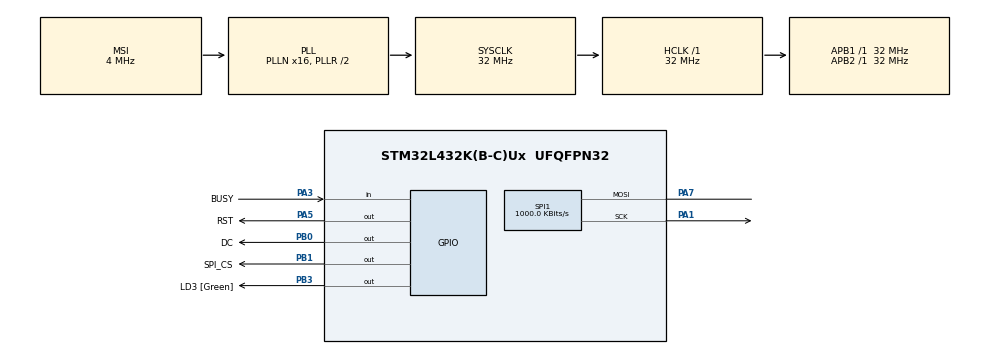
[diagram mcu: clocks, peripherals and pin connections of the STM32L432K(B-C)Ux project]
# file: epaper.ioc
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Mcu.Family=STM32L4
Mcu.Name=STM32L432K(B-C)Ux
Mcu.Package=UFQFPN32
NVIC.PriorityGroup=NVIC_PRIORITYGROUP_4
PA0.GPIO_Label=MCO [High speed clock in]
PA0.Signal=RCC_CK_IN
PA1.Mode=Simplex_Bidirectional_Master
PA1.Signal=SPI1_SCK
PA13\ (JTMS-SWDIO).GPIO_Label=SWDIO
PA13\ (JTMS-SWDIO).Signal=SYS_JTMS-SWDIO
PA14\ (JTCK-SWCLK).Signal=SYS_JTCK-SWCLK
PA15\ (JTDI).GPIO_Label=VCP_RX
PA15\ (JTDI).Signal=USART2_RX
PA2.GPIO_Label=VCP_TX
PA2.Signal=USART2_TX
PA3.GPIO_Label=BUSY
PA3.Signal=GPIO_Input
PA5.GPIO_Label=RST
PA5.GPIO_Speed=GPIO_SPEED_FREQ_LOW
PA5.Signal=GPIO_Output
PA7.Mode=Simplex_Bidirectional_Master
PA7.Signal=SPI1_MOSI
PB0.GPIO_Label=DC
PB0.GPIO_Speed=GPIO_SPEED_FREQ_LOW
PB0.Signal=GPIO_Output
PB1.GPIO_Label=SPI_CS
PB1.Signal=GPIO_Output
PB3\ (JTDO-TRACESWO).GPIO_Label=LD3 [Green]
PB3\ (JTDO-TRACESWO).Signal=GPIO_Output
PC14-OSC32_IN\ (PC14).Signal=RCC_OSC32_IN
PC15-OSC32_OUT\ (PC15).Signal=RCC_OSC32_OUT
ProjectManager.HeapSize=0x200
ProjectManager.StackSize=0x400
ProjectManager.TargetToolchain=Makefile
RCC.AHBFreq_Value=32000000
RCC.APB1Freq_Value=32000000
RCC.APB1TimFreq_Value=32000000
RCC.APB2Freq_Value=32000000
RCC.APB2TimFreq_Value=32000000
RCC.CortexFreq_Value=32000000
RCC.HCLKFreq_Value=32000000
RCC.HSE_VALUE=8000000
RCC.HSI16_VALUE=16000000
RCC.HSI48_VALUE=48000000
RCC.HSI_VALUE=16000000
RCC.LSE_VALUE=32768
RCC.MSI_VALUE=4000000
RCC.PLLMUL=RCC_PLLMUL_4
RCC.PLLN=16
RCC.SYSCLKFreq_VALUE=32000000
RCC.SYSCLKSource=RCC_SYSCLKSOURCE_PLLCLK
RCC.VCOOutputFreq_Value=64000000
SPI1.BaudRatePrescaler=SPI_BAUDRATEPRESCALER_32
SPI1.CalculateBaudRate=1000.0 KBits/s
SPI1.DataSize=SPI_DATASIZE_8BIT
SPI1.Direction=SPI_DIRECTION_1LINE
SPI1.Mode=SPI_MODE_MASTER
SPI1.VirtualType=VM_MASTER
board=NUCLEO-L432KC

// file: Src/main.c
/**
  ******************************************************************************
  * @file           : main.c
  * @brief          : Main program body
  ******************************************************************************
  ** This notice applies to any and all portions of this file
  * that are not between comment pairs USER CODE BEGIN and
  * USER CODE END. Other portions of this file, whether
  * inserted by the user or by software development tools
  * are owned by their respective copyright owners.
  *
  * COPYRIGHT(c) 2019 STMicroelectronics
  *
  * Redistribution and use in source and binary forms, with or without modification,
  * are permitted provided that the following conditions are met:
  *   1. Redistributions of source code must retain the above copyright notice,
  *      this list of conditions and the following disclaimer.
  *   2. Redistributions in binary form must reproduce the above copyright notice,
  *      this list of conditions and the following disclaimer in the documentation
  *      and/or other materials provided with the distribution.
  *   3. Neither the name of STMicroelectronics nor the names of its contributors
  *      may be used to endorse or promote products derived from this software
  *      without specific prior written permission.
  *
  * THIS SOFTWARE IS PROVIDED BY THE COPYRIGHT HOLDERS AND CONTRIBUTORS "AS IS"
  * AND ANY EXPRESS OR IMPLIED WARRANTIES, INCLUDING, BUT NOT LIMITED TO, THE
  * IMPLIED WARRANTIES OF MERCHANTABILITY AND FITNESS FOR A PARTICULAR PURPOSE ARE
  * DISCLAIMED. IN NO EVENT SHALL THE COPYRIGHT HOLDER OR CONTRIBUTORS BE LIABLE
  * FOR ANY DIRECT, INDIRECT, INCIDENTAL, SPECIAL, EXEMPLARY, OR CONSEQUENTIAL
  * DAMAGES (INCLUDING, BUT NOT LIMITED TO, PROCUREMENT OF SUBSTITUTE GOODS OR
  * SERVICES; LOSS OF USE, DATA, OR PROFITS; OR BUSINESS INTERRUPTION) HOWEVER
  * CAUSED AND ON ANY THEORY OF LIABILITY, WHETHER IN CONTRACT, STRICT LIABILITY,
  * OR TORT (INCLUDING NEGLIGENCE OR OTHERWISE) ARISING IN ANY WAY OUT OF THE USE
  * OF THIS SOFTWARE, EVEN IF ADVISED OF THE POSSIBILITY OF SUCH DAMAGE.
  *
  ******************************************************************************
  */
#include "main.h"
#include "stm32l4xx_hal.h"
#include "spi.h"
#include "gpio.h"

/* USER CODE BEGIN Includes */
#include "EPD_1in54.h"
#include "DEV_Config.h"
#include "GUI_Paint.h"
#include "imagedata.h"
#include <stdlib.h>
/* USER CODE END Includes */

/* USER CODE BEGIN PV */
/* Private variables ---------------------------------------------------------*/

/* USER CODE END PV */

void SystemClock_Config(void);

/* USER CODE BEGIN PFP */
/* Private function prototypes -----------------------------------------------*/

/* USER CODE END PFP */

int main(void)
{

  /* MCU Configuration----------------------------------------------------------*/

  /* Reset of all peripherals, Initializes the Flash interface and the Systick. */
  HAL_Init();

  /* Configure the system clock */
  SystemClock_Config();

  /* Initialize all configured peripherals */
  MX_GPIO_Init();
  MX_SPI1_Init();
  /* USER CODE BEGIN 2 */
	if(EPD_Init(lut_full_update) != 0) {
        printf("e-Paper init failed\r\n");
    }
    EPD_Clear();
    DEV_Delay_ms(500);

    //Create a new image cache
    UBYTE *BlackImage;
		/* you have to edit the startup_stm32fxxx.s file and set a big enough heap size */
    UWORD Imagesize = ((EPD_WIDTH % 8 == 0)? (EPD_WIDTH / 8 ): (EPD_WIDTH / 8 + 1)) * EPD_HEIGHT;
    if((BlackImage = (UBYTE *)malloc(Imagesize)) == NULL) {
        printf("Failed to apply for black memory...\r\n");
				return 0;
    }
    printf("Paint_NewImage\r\n");

    Paint_NewImage(BlackImage, EPD_WIDTH, EPD_HEIGHT, 270, WHITE);
    Paint_SelectImage(BlackImage);
    Paint_Clear(WHITE);
		#if 1   //show image for array
    printf("show image for array\r\n");
    Paint_SelectImage(BlackImage);
    Paint_Clear(WHITE);
    Paint_DrawBitMap(gImage_1in54);

    EPD_Display(BlackImage);
    DEV_Delay_ms(2000);
#endif

#if 1   // Drawing on the image
    //1.Select Image
    Paint_SelectImage(BlackImage);
    Paint_Clear(WHITE);

    // 2.Drawing on the image
    Paint_DrawPoint(5, 10, BLACK, DOT_PIXEL_1X1, DOT_STYLE_DFT);
    Paint_DrawPoint(5, 25, BLACK, DOT_PIXEL_2X2, DOT_STYLE_DFT);
    Paint_DrawPoint(5, 40, BLACK, DOT_PIXEL_3X3, DOT_STYLE_DFT);
    Paint_DrawPoint(5, 55, BLACK, DOT_PIXEL_4X4, DOT_STYLE_DFT);

    Paint_DrawLine(20, 10, 70, 60, BLACK, LINE_STYLE_SOLID, DOT_PIXEL_1X1);
    Paint_DrawLine(70, 10, 20, 60, BLACK, LINE_STYLE_SOLID, DOT_PIXEL_1X1);
    Paint_DrawLine(170, 15, 170, 55, BLACK, LINE_STYLE_DOTTED, DOT_PIXEL_1X1);
    Paint_DrawLine(150, 35, 190, 35, BLACK, LINE_STYLE_DOTTED, DOT_PIXEL_1X1);

    Paint_DrawRectangle(20, 10, 70, 60, BLACK, DRAW_FILL_EMPTY, DOT_PIXEL_1X1);
    Paint_DrawRectangle(85, 10, 130, 60, BLACK, DRAW_FILL_FULL, DOT_PIXEL_1X1);

    Paint_DrawCircle(170, 35, 20, BLACK, DRAW_FILL_EMPTY, DOT_PIXEL_1X1);
    Paint_DrawCircle(170, 85, 20, BLACK, DRAW_FILL_FULL, DOT_PIXEL_1X1);
    Paint_DrawString_EN(5, 85, "Lecostarius", &Font20, BLACK, WHITE);
    Paint_DrawNum(5, 110, 123456789, &Font20, BLACK, WHITE);

    //Paint_DrawString_CN(5, 135,"���abc", &Font12CN, BLACK, WHITE);
    //Paint_DrawString_CN(5, 160, "΢ѩ����", &Font24CN, WHITE, BLACK);

    EPD_Display(BlackImage);
    DEV_Delay_ms(2000);
#endif

#if 1   //Partial refresh, example shows time
    if(EPD_Init(lut_partial_update) != 0) {
        printf("e-Paper init failed\r\n");
    }
		Paint_SelectImage(BlackImage);
    PAINT_TIME sPaint_time;
    sPaint_time.Hour = 12;
    sPaint_time.Min = 34;
    sPaint_time.Sec = 56;
    for (;;) {
        sPaint_time.Sec = sPaint_time.Sec + 1;
        if (sPaint_time.Sec == 60) {
            sPaint_time.Min = sPaint_time.Min + 1;
            sPaint_time.Sec = 0;
            if (sPaint_time.Min == 60) {
                sPaint_time.Hour =  sPaint_time.Hour + 1;
                sPaint_time.Min = 0;
                if (sPaint_time.Hour == 24) {
                    sPaint_time.Hour = 0;
                    sPaint_time.Min = 0;
                    sPaint_time.Sec = 0;
                }
            }
        }
        Paint_ClearWindows(15, 65, 15 + Font20.Width * 7, 65 + Font20.Height, WHITE);
        Paint_DrawTime(15, 65, &sPaint_time, &Font20, WHITE, BLACK);

				EPD_Display(BlackImage);
        DEV_Delay_ms(500);//Analog clock 1s
    }

#endif

    printf("Goto Sleep mode...\r\n");
    EPD_Sleep();
    free(BlackImage);
    BlackImage = NULL;

  /* USER CODE END 2 */

  /* Infinite loop */
  while (1)
  {
  //HAL_GPIO_TogglePin(GPIOB, GPIO_PIN_3);
  HAL_GPIO_TogglePin(GPIOB, LD3_Pin);
  HAL_Delay(100);
  }

}

void SystemClock_Config(void)
{

  RCC_OscInitTypeDef RCC_OscInitStruct;
  RCC_ClkInitTypeDef RCC_ClkInitStruct;

    /**Initializes the CPU, AHB and APB busses clocks
    */
  RCC_OscInitStruct.OscillatorType = RCC_OSCILLATORTYPE_MSI;
  RCC_OscInitStruct.MSIState = RCC_MSI_ON;
  RCC_OscInitStruct.MSICalibrationValue = 0;
  RCC_OscInitStruct.MSIClockRange = RCC_MSIRANGE_6;
  RCC_OscInitStruct.PLL.PLLState = RCC_PLL_ON;
  RCC_OscInitStruct.PLL.PLLSource = RCC_PLLSOURCE_MSI;
  RCC_OscInitStruct.PLL.PLLN = 16;
  RCC_OscInitStruct.PLL.PLLP = RCC_PLLP_DIV7;
  RCC_OscInitStruct.PLL.PLLQ = RCC_PLLQ_DIV2;
  RCC_OscInitStruct.PLL.PLLR = RCC_PLLR_DIV2;
  if (HAL_RCC_OscConfig(&RCC_OscInitStruct) != HAL_OK)
  {
    _Error_Handler(__FILE__, __LINE__);
  }

    /**Initializes the CPU, AHB and APB busses clocks
    */
  RCC_ClkInitStruct.ClockType = RCC_CLOCKTYPE_HCLK|RCC_CLOCKTYPE_SYSCLK
                              |RCC_CLOCKTYPE_PCLK1|RCC_CLOCKTYPE_PCLK2;
  RCC_ClkInitStruct.SYSCLKSource = RCC_SYSCLKSOURCE_PLLCLK;
  RCC_ClkInitStruct.AHBCLKDivider = RCC_SYSCLK_DIV1;
  RCC_ClkInitStruct.APB1CLKDivider = RCC_HCLK_DIV1;
  RCC_ClkInitStruct.APB2CLKDivider = RCC_HCLK_DIV1;

  if (HAL_RCC_ClockConfig(&RCC_ClkInitStruct, FLASH_LATENCY_1) != HAL_OK)
  {
    _Error_Handler(__FILE__, __LINE__);
  }

    /**Configure the main internal regulator output voltage
    */
  if (HAL_PWREx_ControlVoltageScaling(PWR_REGULATOR_VOLTAGE_SCALE1) != HAL_OK)
  {
    _Error_Handler(__FILE__, __LINE__);
  }

    /**Configure the Systick interrupt time
    */
  HAL_SYSTICK_Config(HAL_RCC_GetHCLKFreq()/1000);

    /**Configure the Systick
    */
  HAL_SYSTICK_CLKSourceConfig(SYSTICK_CLKSOURCE_HCLK);

  /* SysTick_IRQn interrupt configuration */
  HAL_NVIC_SetPriority(SysTick_IRQn, 0, 0);
}

void _Error_Handler(char *file, int line)
{
  while(1)
  {
  }
}

/************************ (C) COPYRIGHT STMicroelectronics *****END OF FILE****/
